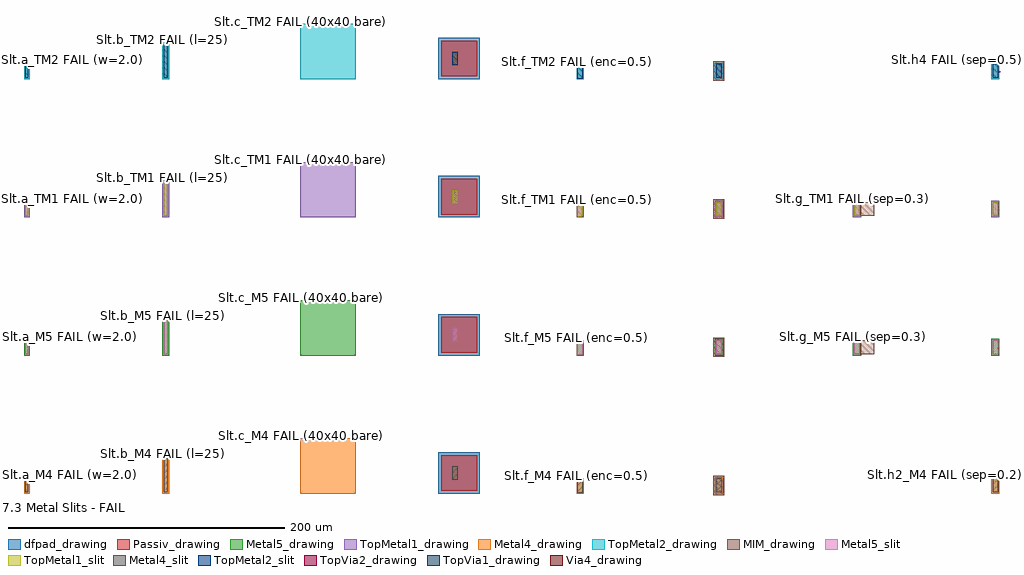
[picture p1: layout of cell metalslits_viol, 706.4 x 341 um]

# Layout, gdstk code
import gdstk
lib = gdstk.Library(unit=1e-6, precision=1e-09)
def R(c, l, rs):  # rectangles x0, y0, x1, y1
    for r in rs: c.add(gdstk.rectangle(r[:2], r[2:], *l))
def A(c, l, x, y, w, h, nx, ny, dx, dy):  # array of equal rectangles
    R(c, l, [(x+i*dx, y+j*dy, x+i*dx+w, y+j*dy+h) for i in range(nx) for j in range(ny)])
Passiv_drawing = (9, 0)
MIM_drawing = (36, 0)
dfpad_drawing = (41, 0)
Metal4_drawing = (50, 0)
Metal4_slit = (50, 24)
Via4_drawing = (66, 0)
Metal5_drawing = (67, 0)
Metal5_slit = (67, 24)
TopVia1_drawing = (125, 0)
TopMetal1_drawing = (126, 0)
TopMetal1_slit = (126, 24)
TopVia2_drawing = (133, 0)
TopMetal2_drawing = (134, 0)
TopMetal2_slit = (134, 24)

metalslits_viol = lib.new_cell('metalslits_viol')
A(metalslits_viol, Passiv_drawing, 302, 2, 26, 26, 1, 4, 0, 100)
A(metalslits_viol, MIM_drawing, 499, -1, 8, 14, 1, 4, 0, 100)
R(metalslits_viol, MIM_drawing, [(605.3,101,615.3,111), (605.3,201,615.3,211)])
A(metalslits_viol, dfpad_drawing, 300, 0, 30, 30, 1, 4, 0, 100)
R(metalslits_viol, Metal4_drawing, [(0,0,4,12), (100,0,105,27), (200,0,240,40), (400,0,405,11), (500,0,506,12), (700,0,706,12)])
R(metalslits_viol, Metal4_slit, [(400.5,0.5,404.5,10.5), (1,1,3,11), (101,1,104,26), (501,1,505,11), (701,1,705,11), (310,10,314,20)])
R(metalslits_viol, Via4_drawing, [(705.2,5,705.39,5.19), (705.2,105,705.39,105.19)])
A(metalslits_viol, Metal5_drawing, 500, 100, 6, 12, 3, 1, 100, 0)
R(metalslits_viol, Metal5_drawing, [(0,100,4,112), (100,100,105,127), (200,100,240,140), (400,100,405,111)])
A(metalslits_viol, Metal5_slit, 501, 101, 4, 10, 3, 1, 100, 0)
R(metalslits_viol, Metal5_slit, [(400.5,100.5,404.5,110.5), (1,101,3,111), (101,101,104,126), (310,110,314,120)])
R(metalslits_viol, TopVia1_drawing, [(705.5,205,705.92,205.42)])
A(metalslits_viol, TopMetal1_drawing, 500, 200, 6, 12, 3, 1, 100, 0)
R(metalslits_viol, TopMetal1_drawing, [(0,200,4,212), (100,200,105,227), (200,200,240,240), (400,200,405,211)])
A(metalslits_viol, TopMetal1_slit, 501, 201, 4, 10, 3, 1, 100, 0)
R(metalslits_viol, TopMetal1_slit, [(400.5,200.5,404.5,210.5), (1,201,3,211), (101,201,104,226), (310,210,314,220)])
R(metalslits_viol, TopVia2_drawing, [(705.5,305,706.4,305.9)])
R(metalslits_viol, TopMetal2_drawing, [(0,300,4,312), (100,300,105,327), (200,300,240,340), (400,300,405,311), (500,300,506,312), (700,300,706,312)])
R(metalslits_viol, TopMetal2_slit, [(400.5,300.5,404.5,310.5), (1,301,3,311), (101,301,104,326), (501,301,505,311), (701,301,705,311), (310,310,314,320)])
metalslits_viol.add(gdstk.Label('7.3 Metal Slits - FAIL', (0,-10), layer=63, texttype=0))
metalslits_viol.add(gdstk.Label('Slt.a_M4 FAIL (w=2.0)', (0,14), layer=63, texttype=0))
metalslits_viol.add(gdstk.Label('Slt.b_M4 FAIL (l=25)', (100,29), layer=63, texttype=0))
metalslits_viol.add(gdstk.Label('Slt.c_M4 FAIL (40x40 bare)', (200,42), layer=63, texttype=0))
metalslits_viol.add(gdstk.Label('Slt.e_M4 FAIL (slit on pad)', (300,32), layer=63, texttype=0))
metalslits_viol.add(gdstk.Label('Slt.f_M4 FAIL (enc=0.5)', (400,13), layer=63, texttype=0))
metalslits_viol.add(gdstk.Label('Slt.e1_M4 FAIL (MIM on slit)', (500,15), layer=63, texttype=0))
metalslits_viol.add(gdstk.Label('Slt.h2_M4 FAIL (sep=0.2)', (700,14), layer=63, texttype=0))
metalslits_viol.add(gdstk.Label('Slt.a_M5 FAIL (w=2.0)', (0,114), layer=63, texttype=0))
metalslits_viol.add(gdstk.Label('Slt.b_M5 FAIL (l=25)', (100,129), layer=63, texttype=0))
metalslits_viol.add(gdstk.Label('Slt.c_M5 FAIL (40x40 bare)', (200,142), layer=63, texttype=0))
metalslits_viol.add(gdstk.Label('Slt.e_M5 FAIL (slit on pad)', (300,132), layer=63, texttype=0))
metalslits_viol.add(gdstk.Label('Slt.f_M5 FAIL (enc=0.5)', (400,113), layer=63, texttype=0))
metalslits_viol.add(gdstk.Label('Slt.e1_M5 FAIL (MIM on slit)', (500,115), layer=63, texttype=0))
metalslits_viol.add(gdstk.Label('Slt.g_M5 FAIL (sep=0.3)', (600,114), layer=63, texttype=0))
metalslits_viol.add(gdstk.Label('Slt.h2_M5 FAIL (sep=0.2)', (700,114), layer=63, texttype=0))
metalslits_viol.add(gdstk.Label('Slt.a_TM1 FAIL (w=2.0)', (0,214), layer=63, texttype=0))
metalslits_viol.add(gdstk.Label('Slt.b_TM1 FAIL (l=25)', (100,229), layer=63, texttype=0))
metalslits_viol.add(gdstk.Label('Slt.c_TM1 FAIL (40x40 bare)', (200,242), layer=63, texttype=0))
metalslits_viol.add(gdstk.Label('Slt.e_TM1 FAIL (slit on pad)', (300,232), layer=63, texttype=0))
metalslits_viol.add(gdstk.Label('Slt.f_TM1 FAIL (enc=0.5)', (400,213), layer=63, texttype=0))
metalslits_viol.add(gdstk.Label('Slt.e1_TM1 FAIL (MIM on slit)', (500,215), layer=63, texttype=0))
metalslits_viol.add(gdstk.Label('Slt.g_TM1 FAIL (sep=0.3)', (600,214), layer=63, texttype=0))
metalslits_viol.add(gdstk.Label('Slt.h3 FAIL (sep=0.5)', (700,214), layer=63, texttype=0))
metalslits_viol.add(gdstk.Label('Slt.a_TM2 FAIL (w=2.0)', (0,314), layer=63, texttype=0))
metalslits_viol.add(gdstk.Label('Slt.b_TM2 FAIL (l=25)', (100,329), layer=63, texttype=0))
metalslits_viol.add(gdstk.Label('Slt.c_TM2 FAIL (40x40 bare)', (200,342), layer=63, texttype=0))
metalslits_viol.add(gdstk.Label('Slt.e_TM2 FAIL (slit on pad)', (300,332), layer=63, texttype=0))
metalslits_viol.add(gdstk.Label('Slt.f_TM2 FAIL (enc=0.5)', (400,313), layer=63, texttype=0))
metalslits_viol.add(gdstk.Label('Slt.e1_TM2 FAIL (MIM on slit)', (500,315), layer=63, texttype=0))
metalslits_viol.add(gdstk.Label('Slt.h4 FAIL (sep=0.5)', (700,314), layer=63, texttype=0))

lib.write_gds('metalslits_viol.gds')
